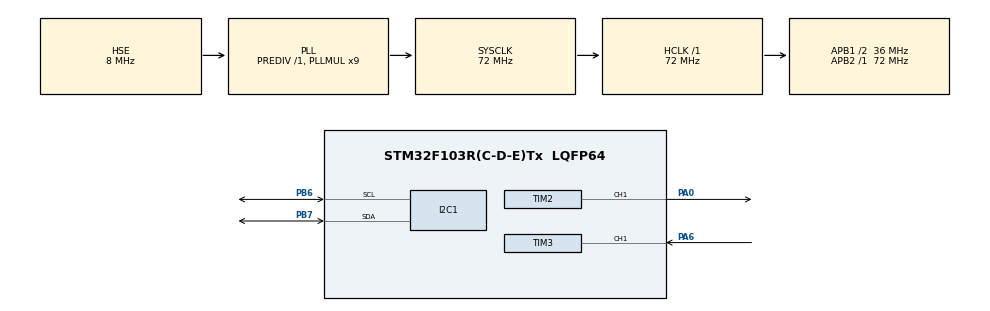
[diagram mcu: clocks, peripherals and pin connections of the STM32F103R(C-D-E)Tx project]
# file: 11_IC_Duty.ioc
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FREERTOS.Tasks01=IC_Duty,24,256,IC_Duty_Entry,Default,NULL,Dynamic,NULL,NULL
I2C1.I2C_Mode=I2C_Fast
Mcu.Family=STM32F1
Mcu.Name=STM32F103R(C-D-E)Tx
Mcu.Package=LQFP64
NVIC.PriorityGroup=NVIC_PRIORITYGROUP_4
NVIC.TIM7_IRQn=true\:15\:0\:false\:false\:true\:false\:false\:true\:true
NVIC.TimeBase=TIM7_IRQn
NVIC.TimeBaseIP=TIM7
PA0-WKUP.Signal=S_TIM2_CH1_ETR
PA13.Mode=Serial_Wire
PA13.Signal=SYS_JTMS-SWDIO
PA14.Mode=Serial_Wire
PA14.Signal=SYS_JTCK-SWCLK
PA6.Signal=S_TIM3_CH1
PB6.Mode=I2C
PB6.Signal=I2C1_SCL
PB7.Mode=I2C
PB7.Signal=I2C1_SDA
PC14-OSC32_IN.Mode=LSE-External-Oscillator
PC14-OSC32_IN.Signal=RCC_OSC32_IN
PC15-OSC32_OUT.Mode=LSE-External-Oscillator
PC15-OSC32_OUT.Signal=RCC_OSC32_OUT
PD0-OSC_IN.Mode=HSE-External-Oscillator
PD0-OSC_IN.Signal=RCC_OSC_IN
PD1-OSC_OUT.Mode=HSE-External-Oscillator
PD1-OSC_OUT.Signal=RCC_OSC_OUT
ProjectManager.HeapSize=0x200
ProjectManager.StackSize=0x400
ProjectManager.TargetToolchain=MDK-ARM V5.32
RCC.AHBFreq_Value=72000000
RCC.APB1CLKDivider=RCC_HCLK_DIV2
RCC.APB1Freq_Value=36000000
RCC.APB1TimFreq_Value=72000000
RCC.APB2Freq_Value=72000000
RCC.APB2TimFreq_Value=72000000
RCC.HCLKFreq_Value=72000000
RCC.PLLMUL=RCC_PLL_MUL9
RCC.PLLSourceVirtual=RCC_PLLSOURCE_HSE
RCC.SYSCLKFreq_VALUE=72000000
RCC.SYSCLKSource=RCC_SYSCLKSOURCE_PLLCLK
RCC.USBFreq_Value=72000000
SH.S_TIM2_CH1_ETR.0=TIM2_CH1,PWM Generation1 CH1
SH.S_TIM3_CH1.0=TIM3_CH1,TriggerSource_TI1FP1
SH.S_TIM3_CH1.1=TIM3_CH1,Input_Capture1_from_TI1
TIM2.AutoReloadPreload=TIM_AUTORELOAD_PRELOAD_ENABLE
TIM2.Channel-PWM\ Generation1\ CH1=TIM_CHANNEL_1
TIM2.Period=1000-1
TIM2.Prescaler=72-1
TIM2.Pulse-PWM\ Generation1\ CH1=500
TIM3.AutoReloadPreload=TIM_AUTORELOAD_PRELOAD_ENABLE
TIM3.Channel-Input_Capture1_from_TI1=TIM_CHANNEL_1
TIM3.Channel-Input_Capture2_from_TI1_63=TIM_CHANNEL_2
TIM3.ICFilter_CH1=0xf
TIM3.ICPolarity_CH2=TIM_INPUTCHANNELPOLARITY_FALLING
TIM3.Prescaler=72-1
VP_FREERTOS_VS_CMSIS_V2.Mode=CMSIS_V2
VP_SYS_VS_tim7.Mode=TIM7
VP_TIM3_VS_ControllerModeReset.Mode=Reset Mode
VP_TIM3_VS_indirect_ch1.Mode=Input_Capture2_from_TI1_63
board=custom

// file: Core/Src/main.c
/* USER CODE BEGIN Header */
/**
  ******************************************************************************
  * @file           : main.c
  * @brief          : Main program body
  ******************************************************************************
  * @attention
  *
  * Copyright (c) 2024 STMicroelectronics.
  * All rights reserved.
  *
  * This software is licensed under terms that can be found in the LICENSE file
  * in the root directory of this software component.
  * If no LICENSE file comes with this software, it is provided AS-IS.
  *
  ******************************************************************************
  */
/* USER CODE END Header */
#include "main.h"
#include "cmsis_os.h"
#include "i2c.h"
#include "tim.h"
#include "gpio.h"

void SystemClock_Config(void);
void MX_FREERTOS_Init(void);

int main(void)
{

  /* MCU Configuration--------------------------------------------------------*/

  /* Reset of all peripherals, Initializes the Flash interface and the Systick. */
  HAL_Init();

  /* Configure the system clock */
  SystemClock_Config();

  /* Initialize all configured peripherals */
  MX_GPIO_Init();
  MX_I2C1_Init();
  MX_TIM2_Init();
  MX_TIM3_Init();

  /* Init scheduler */
  osKernelInitialize();

  /* Call init function for freertos objects (in freertos.c) */
  MX_FREERTOS_Init();

  /* Start scheduler */
  osKernelStart();

  /* We should never get here as control is now taken by the scheduler */
  /* Infinite loop */
  while (1)
  {

  }
}

void SystemClock_Config(void)
{
  RCC_OscInitTypeDef RCC_OscInitStruct = {0};
  RCC_ClkInitTypeDef RCC_ClkInitStruct = {0};

  /** Initializes the RCC Oscillators according to the specified parameters
  * in the RCC_OscInitTypeDef structure.
  */
  RCC_OscInitStruct.OscillatorType = RCC_OSCILLATORTYPE_HSE;
  RCC_OscInitStruct.HSEState = RCC_HSE_ON;
  RCC_OscInitStruct.HSEPredivValue = RCC_HSE_PREDIV_DIV1;
  RCC_OscInitStruct.HSIState = RCC_HSI_ON;
  RCC_OscInitStruct.PLL.PLLState = RCC_PLL_ON;
  RCC_OscInitStruct.PLL.PLLSource = RCC_PLLSOURCE_HSE;
  RCC_OscInitStruct.PLL.PLLMUL = RCC_PLL_MUL9;
  if (HAL_RCC_OscConfig(&RCC_OscInitStruct) != HAL_OK)
  {
    Error_Handler();
  }

  /** Initializes the CPU, AHB and APB buses clocks
  */
  RCC_ClkInitStruct.ClockType = RCC_CLOCKTYPE_HCLK|RCC_CLOCKTYPE_SYSCLK
                              |RCC_CLOCKTYPE_PCLK1|RCC_CLOCKTYPE_PCLK2;
  RCC_ClkInitStruct.SYSCLKSource = RCC_SYSCLKSOURCE_PLLCLK;
  RCC_ClkInitStruct.AHBCLKDivider = RCC_SYSCLK_DIV1;
  RCC_ClkInitStruct.APB1CLKDivider = RCC_HCLK_DIV2;
  RCC_ClkInitStruct.APB2CLKDivider = RCC_HCLK_DIV1;

  if (HAL_RCC_ClockConfig(&RCC_ClkInitStruct, FLASH_LATENCY_2) != HAL_OK)
  {
    Error_Handler();
  }
}

void HAL_TIM_PeriodElapsedCallback(TIM_HandleTypeDef *htim)
{
  if (htim->Instance == TIM7) {
    HAL_IncTick();
  }
}

void Error_Handler(void)
{
  __disable_irq();
  while (1)
  {
  }
}

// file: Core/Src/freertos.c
/* USER CODE BEGIN Header */
/**
  ******************************************************************************
  * File Name          : freertos.c
  * Description        : Code for freertos applications
  ******************************************************************************
  * @attention
  *
  * Copyright (c) 2024 STMicroelectronics.
  * All rights reserved.
  *
  * This software is licensed under terms that can be found in the LICENSE file
  * in the root directory of this software component.
  * If no LICENSE file comes with this software, it is provided AS-IS.
  *
  ******************************************************************************
  */
/* USER CODE END Header */

#include "FreeRTOS.h"
#include "task.h"
#include "main.h"
#include "cmsis_os.h"

/* USER CODE BEGIN Includes */
#include "oled.h"
#include "tim.h"
/* USER CODE END Includes */

/* Definitions for IC_Duty */
osThreadId_t IC_DutyHandle;
const osThreadAttr_t IC_Duty_attributes = {
  .name = "IC_Duty",
  .stack_size = 256 * 4,
  .priority = (osPriority_t) osPriorityNormal,
};

void IC_Duty_Entry(void *argument);

void MX_FREERTOS_Init(void); /* (MISRA C 2004 rule 8.1) */

void MX_FREERTOS_Init(void) {

  /* Create the thread(s) */
  /* creation of IC_Duty */
  IC_DutyHandle = osThreadNew(IC_Duty_Entry, NULL, &IC_Duty_attributes);

}

void IC_Duty_Entry(void *argument)
{
  /* USER CODE BEGIN IC_Duty_Entry */
  uint16_t pulse_value = 0;
  uint16_t duty_value = 0;

  OLED_Init();
  OLED_Display_On();
  OLED_Clear();
  OLED_ShowString(0,0,"Freq:",16,0);
  OLED_ShowString(0,2,"Duty:",16,0);
  OLED_ShowString(0,4,"real_pulse:",16,0);

  HAL_TIM_PWM_Start(&htim2, TIM_CHANNEL_1);
  HAL_TIM_IC_Start(&htim3, TIM_CHANNEL_1);
  HAL_TIM_IC_Start(&htim3, TIM_CHANNEL_2);

  __HAL_TIM_SET_COMPARE(&htim2, TIM_CHANNEL_1, 100);
  /* Infinite loop */
  for(;;)
  {
    pulse_value = HAL_TIM_ReadCapturedValue(&htim3, TIM_CHANNEL_1);
    duty_value  = HAL_TIM_ReadCapturedValue(&htim3, TIM_CHANNEL_2);
    uint16_t freq = 0;
    uint16_t duty = 0;
    if(pulse_value != 0){
        freq = 1000000 / (pulse_value + 1);
        duty  = 100 * (duty_value + 1) / pulse_value;
    }

    OLED_ShowNum(40,0,freq,5,16,0);
    OLED_ShowNum(40,2,duty,5,16,0);

    uint16_t real_pulse = __HAL_TIM_GET_COMPARE(&htim2, TIM_CHANNEL_1);
    OLED_ShowNum(40,4,real_pulse,5,16,0);

    osDelay(20);
  }
  /* USER CODE END IC_Duty_Entry */
}
